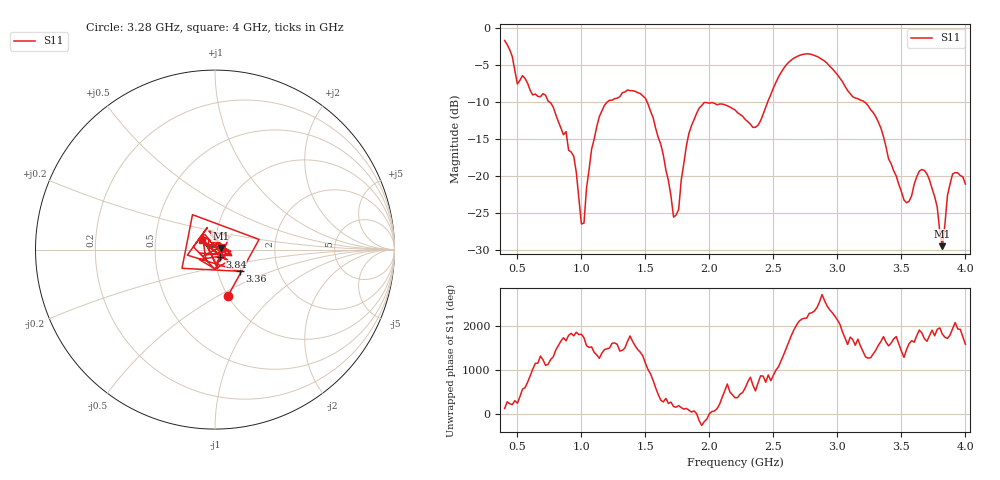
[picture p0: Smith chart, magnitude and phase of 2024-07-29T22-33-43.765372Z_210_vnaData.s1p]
!Created with skrf (http://scikit-rf.org).
# Hz S RI R 50.0
!freq ReS11 ImS11
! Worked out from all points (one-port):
!   181 points, 400 MHz to 4 GHz, reference 50 ohm
!   lowest |S11| = -29.5 dB at 3.82 GHz (marker M1), VSWR 1.07, Z = 53.3 + j0.96 ohm
!   |S11| at or under -10 dB: 753.3 MHz to 1.2 GHz (446.5 MHz wide, 45.7 % of centre); 1.514 GHz to 2.454 GHz (940.5 MHz wide, 47.4 % of centre); 3.214 GHz to end of sweep
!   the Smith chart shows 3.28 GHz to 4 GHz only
!   S11 on the Smith chart (normalised r, x): 3.28 GHz: 1.00, -0.56; 3.36 GHz: 1.28, -0.32; 3.84 GHz: 1.05, -0.08; 4 GHz: 0.86, +0.09
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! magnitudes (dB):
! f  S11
! 400 MHz  -1.6
! 500 MHz  -7.5
! 720 MHz  -9.1
! 860 MHz  -14.4
! 940 MHz  -17.3
! 1 GHz  -26.5
! 1.02 GHz  -26.4
! 1.08 GHz  -16.3
! 1.14 GHz  -12.0
! 1.3 GHz  -9.3
! 1.5 GHz  -9.5
! 1.62 GHz  -15.7
! 1.72 GHz  -25.6
! 1.76 GHz  -24.5
! 1.84 GHz  -14.2
! 1.92 GHz  -10.8
! 2.2 GHz  -11.0
! 2.38 GHz  -13.1
! 2.66 GHz  -4.0
! 3.1 GHz  -8.8
! 3.28 GHz  -11.4
! 3.36 GHz  -14.7
! 3.56 GHz  -23.4
! 3.68 GHz  -19.3
! 3.82 GHz  -29.5
! 3.84 GHz  -26.6
! 3.9 GHz  -19.7
! 4 GHz  -21.1
